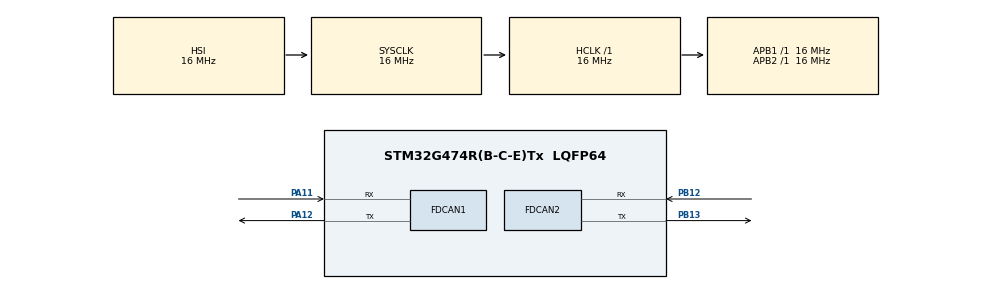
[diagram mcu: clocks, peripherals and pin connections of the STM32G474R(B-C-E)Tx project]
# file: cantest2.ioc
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Mcu.Family=STM32G4
RCC.CortexFreq_Value=16000000
PA11.Mode=FDCANMaster
RCC.EXTERNAL_CLOCK_VALUE=12288000
NVIC.FDCAN2_IT1_IRQn=true\:0\:0\:false\:false\:true\:true\:true
PB13.Signal=FDCAN2_TX
ProjectManager.StackSize=0x400
NVIC.FDCAN2_IT0_IRQn=true\:0\:0\:false\:false\:true\:true\:true
FDCAN2.NominalTimeSeg1=5
PA12.Signal=FDCAN1_TX
ProjectManager.TargetToolchain=STM32CubeIDE
RCC.HCLKFreq_Value=16000000
RCC.APB2TimFreq_Value=16000000
FDCAN2.DataTimeSeg1=5
FDCAN2.DataTimeSeg2=2
RCC.USBFreq_Value=64000000
RCC.LSE_VALUE=32768
RCC.AHBFreq_Value=16000000
RCC.HSE_VALUE=8000000
board=custom
RCC.VCOOutputFreq_Value=128000000
FDCAN1.ClockDivider=FDCAN_CLOCK_DIV16
RCC.APB2Freq_Value=16000000
VP_SYS_VS_DBSignals.Mode=DisableDeadBatterySignals
Mcu.Name=STM32G474R(B-C-E)Tx
NVIC.FDCAN1_IT1_IRQn=true\:0\:0\:false\:false\:true\:true\:true
FDCAN1.NominalTimeSeg1=5
RCC.SYSCLKFreq_VALUE=16000000
Mcu.Package=LQFP64
PB12.Mode=FDCANSlave
PA12.Mode=FDCANMaster
PA11.Signal=FDCAN1_RX
ProjectManager.HeapSize=0x200
RCC.HSI_VALUE=16000000
NVIC.PriorityGroup=NVIC_PRIORITYGROUP_4
FDCAN1.DataTimeSeg2=2
FDCAN1.DataTimeSeg1=5
RCC.APB1TimFreq_Value=16000000
PB13.Mode=FDCANSlave
RCC.APB1Freq_Value=16000000
PB12.Signal=FDCAN2_RX
RCC.HSI48_VALUE=48000000
NVIC.FDCAN1_IT0_IRQn=true\:0\:0\:false\:false\:true\:true\:true

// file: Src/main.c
/* USER CODE BEGIN Header */
/**
  ******************************************************************************
  * @file           : main.c
  * @brief          : Main program body
  ******************************************************************************
  * @attention
  *
  * <h2><center>&copy; Copyright (c) 2020 STMicroelectronics.
  * All rights reserved.</center></h2>
  *
  * This software component is licensed by ST under BSD 3-Clause license,
  * the "License"; You may not use this file except in compliance with the
  * License. You may obtain a copy of the License at:
  *                        opensource.org/licenses/BSD-3-Clause
  *
  ******************************************************************************
  */
/* USER CODE END Header */

#include "main.h"

FDCAN_HandleTypeDef hfdcan1;
FDCAN_HandleTypeDef hfdcan2;

void SystemClock_Config(void);
static void MX_GPIO_Init(void);
static void MX_FDCAN1_Init(void);
static void MX_FDCAN2_Init(void);

/* USER CODE BEGIN 0 */
#include <stdio.h>

#include "common_types.h"
#include <stdint.h>
#include <string.h>

// TODO: can we move this define?
typedef unsigned short word_t;
typedef unsigned char byte_t;
typedef unsigned long dword_t;

typedef struct {
  byte_t rxFlag : 1;
  byte_t extended : 1;
  byte_t dlc : 4;
  byte_t rtrtag : 1;
  dword_t id;
  byte_t data[8];
} canPacket_t;

void (*CANrxCallback)(canPacket_t* receivedPacket) = 0;

void SetRxCallbackFunction3(int bus, void (*function)(canPacket_t* receivedPacket))
{
	CANrxCallback = function;
}

void CANCallbackRx(FDCAN_HandleTypeDef *hfdcan, uint32_t RxFifo0ITs)
{
	FDCAN_RxHeaderTypeDef rxHeader;
	uint8_t rxData[8];

	while(HAL_FDCAN_GetRxFifoFillLevel(&hfdcan1, FDCAN_RX_FIFO0))
	{
		if(HAL_FDCAN_GetRxMessage(&hfdcan1, FDCAN_RX_FIFO0, &rxHeader, (uint8_t *)&rxData) == HAL_OK)
		{
			canPacket_t packet;

			packet.id = rxHeader.Identifier;
			packet.extended = 0;
		    memcpy(packet.data, rxData, 8);
			packet.dlc = rxHeader.DataLength >> 16;
			packet.rtrtag = 0;

			CANrxCallback(&packet);
		}
	}
}

void c2c_init();
void c2c_execute();

/* USER CODE END 0 */

int main(void)
{

  /* MCU Configuration--------------------------------------------------------*/

  /* Reset of all peripherals, Initializes the Flash interface and the Systick. */
  HAL_Init();

  /* Configure the system clock */
  SystemClock_Config();

  /* Initialize all configured peripherals */
  MX_GPIO_Init();
  MX_FDCAN1_Init();
  MX_FDCAN2_Init();
  /* USER CODE BEGIN 2 */
  HAL_FDCAN_ActivateNotification(&hfdcan1, FDCAN_IT_LIST_RX_FIFO0, 0);

  HAL_FDCAN_RegisterRxFifo0Callback(&hfdcan1, CANCallbackRx);

  HAL_FDCAN_Start(&hfdcan1);

  c2c_init();
  /* USER CODE END 2 */

  /* Infinite loop */
  while (1)
  {

    /* USER CODE BEGIN 3 */
	c2c_execute();
  }
  /* USER CODE END 3 */
}

void SystemClock_Config(void)
{
  RCC_OscInitTypeDef RCC_OscInitStruct = {0};
  RCC_ClkInitTypeDef RCC_ClkInitStruct = {0};
  RCC_PeriphCLKInitTypeDef PeriphClkInit = {0};

  /** Configure the main internal regulator output voltage
  */
  HAL_PWREx_ControlVoltageScaling(PWR_REGULATOR_VOLTAGE_SCALE1);
  /** Initializes the CPU, AHB and APB busses clocks
  */
  RCC_OscInitStruct.OscillatorType = RCC_OSCILLATORTYPE_HSI;
  RCC_OscInitStruct.HSIState = RCC_HSI_ON;
  RCC_OscInitStruct.HSICalibrationValue = RCC_HSICALIBRATION_DEFAULT;
  RCC_OscInitStruct.PLL.PLLState = RCC_PLL_NONE;
  if (HAL_RCC_OscConfig(&RCC_OscInitStruct) != HAL_OK)
  {
    Error_Handler();
  }
  /** Initializes the CPU, AHB and APB busses clocks
  */
  RCC_ClkInitStruct.ClockType = RCC_CLOCKTYPE_HCLK|RCC_CLOCKTYPE_SYSCLK
                              |RCC_CLOCKTYPE_PCLK1|RCC_CLOCKTYPE_PCLK2;
  RCC_ClkInitStruct.SYSCLKSource = RCC_SYSCLKSOURCE_HSI;
  RCC_ClkInitStruct.AHBCLKDivider = RCC_SYSCLK_DIV1;
  RCC_ClkInitStruct.APB1CLKDivider = RCC_HCLK_DIV1;
  RCC_ClkInitStruct.APB2CLKDivider = RCC_HCLK_DIV1;

  if (HAL_RCC_ClockConfig(&RCC_ClkInitStruct, FLASH_LATENCY_0) != HAL_OK)
  {
    Error_Handler();
  }
  /** Initializes the peripherals clocks
  */
  PeriphClkInit.PeriphClockSelection = RCC_PERIPHCLK_FDCAN;
  PeriphClkInit.FdcanClockSelection = RCC_FDCANCLKSOURCE_PCLK1;
  if (HAL_RCCEx_PeriphCLKConfig(&PeriphClkInit) != HAL_OK)
  {
    Error_Handler();
  }
}

static void MX_FDCAN1_Init(void)
{

  hfdcan1.Instance = FDCAN1;
  hfdcan1.Init.ClockDivider = FDCAN_CLOCK_DIV16;
  hfdcan1.Init.FrameFormat = FDCAN_FRAME_CLASSIC;
  hfdcan1.Init.Mode = FDCAN_MODE_NORMAL;
  hfdcan1.Init.AutoRetransmission = DISABLE;
  hfdcan1.Init.TransmitPause = DISABLE;
  hfdcan1.Init.ProtocolException = DISABLE;
  hfdcan1.Init.NominalPrescaler = 1;
  hfdcan1.Init.NominalSyncJumpWidth = 1;
  hfdcan1.Init.NominalTimeSeg1 = 5;
  hfdcan1.Init.NominalTimeSeg2 = 2;
  hfdcan1.Init.DataPrescaler = 1;
  hfdcan1.Init.DataSyncJumpWidth = 1;
  hfdcan1.Init.DataTimeSeg1 = 5;
  hfdcan1.Init.DataTimeSeg2 = 2;
  hfdcan1.Init.StdFiltersNbr = 0;
  hfdcan1.Init.ExtFiltersNbr = 0;
  hfdcan1.Init.TxFifoQueueMode = FDCAN_TX_FIFO_OPERATION;
  if (HAL_FDCAN_Init(&hfdcan1) != HAL_OK)
  {
    Error_Handler();
  }

}

static void MX_FDCAN2_Init(void)
{

  hfdcan2.Instance = FDCAN2;
  hfdcan2.Init.FrameFormat = FDCAN_FRAME_CLASSIC;
  hfdcan2.Init.Mode = FDCAN_MODE_NORMAL;
  hfdcan2.Init.AutoRetransmission = DISABLE;
  hfdcan2.Init.TransmitPause = DISABLE;
  hfdcan2.Init.ProtocolException = DISABLE;
  hfdcan2.Init.NominalPrescaler = 1;
  hfdcan2.Init.NominalSyncJumpWidth = 1;
  hfdcan2.Init.NominalTimeSeg1 = 5;
  hfdcan2.Init.NominalTimeSeg2 = 2;
  hfdcan2.Init.DataPrescaler = 1;
  hfdcan2.Init.DataSyncJumpWidth = 1;
  hfdcan2.Init.DataTimeSeg1 = 5;
  hfdcan2.Init.DataTimeSeg2 = 2;
  hfdcan2.Init.StdFiltersNbr = 0;
  hfdcan2.Init.ExtFiltersNbr = 0;
  hfdcan2.Init.TxFifoQueueMode = FDCAN_TX_FIFO_OPERATION;
  if (HAL_FDCAN_Init(&hfdcan2) != HAL_OK)
  {
    Error_Handler();
  }

}

static void MX_GPIO_Init(void)
{

  /* GPIO Ports Clock Enable */
  __HAL_RCC_GPIOB_CLK_ENABLE();
  __HAL_RCC_GPIOA_CLK_ENABLE();

}

void Error_Handler(void)
{
}

/************************ (C) COPYRIGHT STMicroelectronics *****END OF FILE****/
